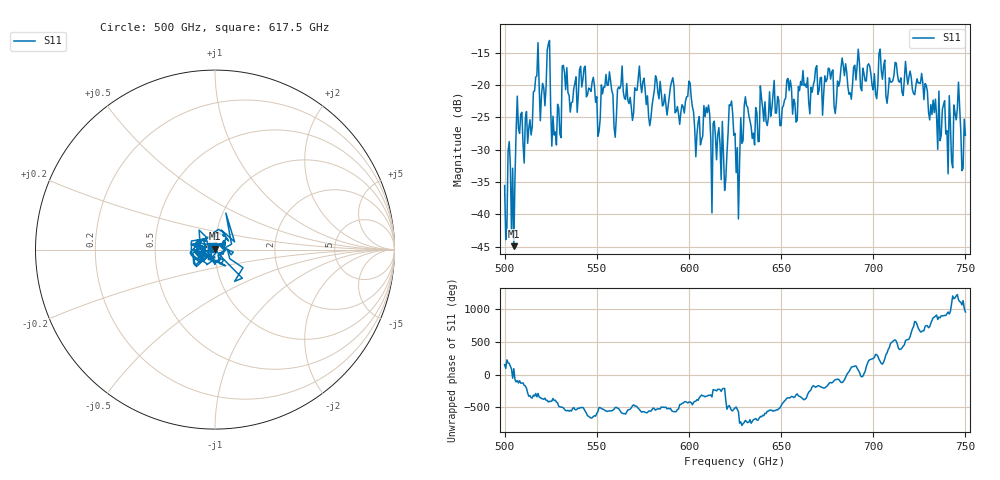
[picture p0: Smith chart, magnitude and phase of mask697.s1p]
!Created with skrf (http://scikit-rf.org).
# GHz S MA R 50.0
!freq magS11 angS11
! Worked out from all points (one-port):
!   401 points, 500 GHz to 750 GHz, reference 50 ohm
!   lowest |S11| = -44.9 dB at 505 GHz (marker M1), VSWR 1.01, Z = 50 + j0.565 ohm
!   |S11| at or under -10 dB: start of sweep to end of sweep
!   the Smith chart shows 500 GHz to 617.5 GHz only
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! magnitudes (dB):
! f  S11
! 500 GHz  -35.6
! 505 GHz  -44.9
! 507.5 GHz  -26.7
! 513.8 GHz  -25.4
! 516.9 GHz  -18.8
! 520.6 GHz  -19.8
! 523.8 GHz  -13.6
! 526.9 GHz  -27.8
! 531.2 GHz  -17.1
! 542.5 GHz  -19.1
! 550.6 GHz  -27.9
! 562.5 GHz  -20.6
! 590.6 GHz  -19.5
! 593.8 GHz  -23.3
! 609.4 GHz  -23.5
! 618.8 GHz  -30.7
! 622.5 GHz  -23.2
! 625 GHz  -27.5
! 626.2 GHz  -29.7
! 631.2 GHz  -23.2
! 634.4 GHz  -28.3
! 656.2 GHz  -24.5
! 676.9 GHz  -19.1
! 680 GHz  -22.6
! 683.8 GHz  -17.0
! 687.5 GHz  -21.2
! 718.8 GHz  -19.9
! 750 GHz  -27.8
